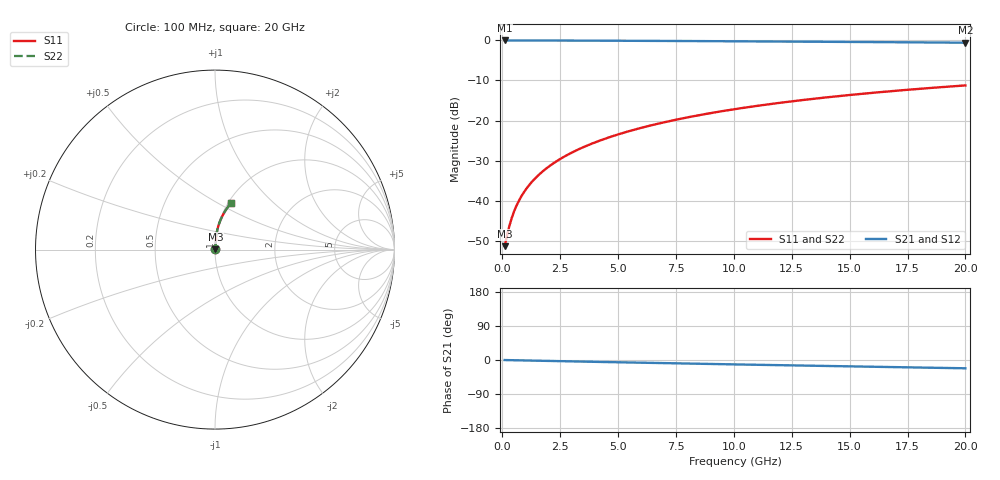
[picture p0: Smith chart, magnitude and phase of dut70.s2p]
! Touchstone file exported from HFSS 2024.1.0
!  File:  C:/UserFiles/LocalFiles/RDL_TSV_Batchsim/temp_RDL_bottom_70_1778693880.aedt
!  Generated:  01:40:53 AM May 14, 2026
!  Design:  RDL_bottom
!  Project:  temp_RDL_bottom_70_1778693880
!  Setup:  Setup1
!  Solution:  Sweep
! Variables:
!  dtsv = 10.80580581um
!  hbump = 3um
!  htsv = 53.36um
!  ldown = 231.39um
!  lrdl = 100um
!  p = 40
!  p1 = 56.52um
!  rhole = 1um
!  t = 450um
!  tdown = 2.27um
!  trdl = 3.915915916um
!  wdown = 18.02um
!  wrdl = 20um
# GHz S MA R 50.000000
! Terminal data exported
! Port[1] = RDL1_T1
! Port[2] = RDL1_T2
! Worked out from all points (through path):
!   200 points, 100 MHz to 20 GHz, reference 50 ohm
!   highest |S21| = -0.02 dB at 100 MHz (marker M1); lowest = -0.6 dB at 20 GHz (marker M2)
!   group delay of S21, straight-line fit = 3.02 ps
!   lowest |S11| = -51.4 dB at 100 MHz (marker M3), VSWR 1.01, Z = 50.2 + j0.139 ohm
!   |S11| at or under -10 dB: start of sweep to end of sweep
!   |S22| runs from -51.4 to -11.2 dB; largest |S21 - S12| = 2.6e-15
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0.1  0.002702 30.7  0.9977 -0.1  0.9977 -0.1  0.002702 30.7
! Gamma 0 0 0 0
! Port Impedance 50 0 50 0
0.3  0.004761 59.7  0.9976 -0.4  0.9976 -0.4  0.004761 59.7
0.4  0.00598 65.7  0.9975 -0.5  0.9975 -0.5  0.00598 65.7
0.5  0.007229 69.6  0.9974 -0.6  0.9974 -0.6  0.007229 69.6
0.6  0.008491 72.3  0.9973 -0.8  0.9973 -0.8  0.00849 72.3
0.8  0.01103 76.0  0.9971 -1.0  0.9971 -1.0  0.01103 76.0
1.1  0.01486 79.1  0.9969 -1.4  0.9969 -1.4  0.01486 79.1
1.5  0.02001 81.6  0.9964 -1.9  0.9964 -1.9  0.02001 81.6
1.8  0.0239 82.7  0.9961 -2.2  0.9961 -2.2  0.0239 82.7
2.1  0.02783 83.5  0.9957 -2.6  0.9957 -2.6  0.02782 83.5
2.7  0.03575 84.5  0.9948 -3.3  0.9948 -3.3  0.03575 84.5
3.5  0.04647 85.1  0.9933 -4.3  0.9933 -4.3  0.04647 85.1
4.2  0.05599 85.3  0.9918 -5.1  0.9918 -5.1  0.05599 85.3
5  0.06703 85.2  0.9898 -6.0  0.9898 -6.0  0.06703 85.2
5.9  0.0796 84.9  0.9874 -7.0  0.9874 -7.0  0.0796 84.9
6.8  0.09232 84.4  0.9848 -8.1  0.9848 -8.1  0.09232 84.3
8.4  0.1151 83.1  0.9798 -9.8  0.9798 -9.8  0.1151 83.1
10.1  0.1394 81.5  0.9741 -11.7  0.9741 -11.7  0.1394 81.5
11.7  0.1622 79.9  0.9685 -13.4  0.9685 -13.4  0.1622 79.9
13.4  0.186 78.1  0.9623 -15.2  0.9623 -15.2  0.186 78.1
16.7  0.2311 74.5  0.9493 -18.6  0.9493 -18.6  0.2311 74.5
20  0.2741 71.0  0.9354 -21.9  0.9354 -21.9  0.2741 71.0
